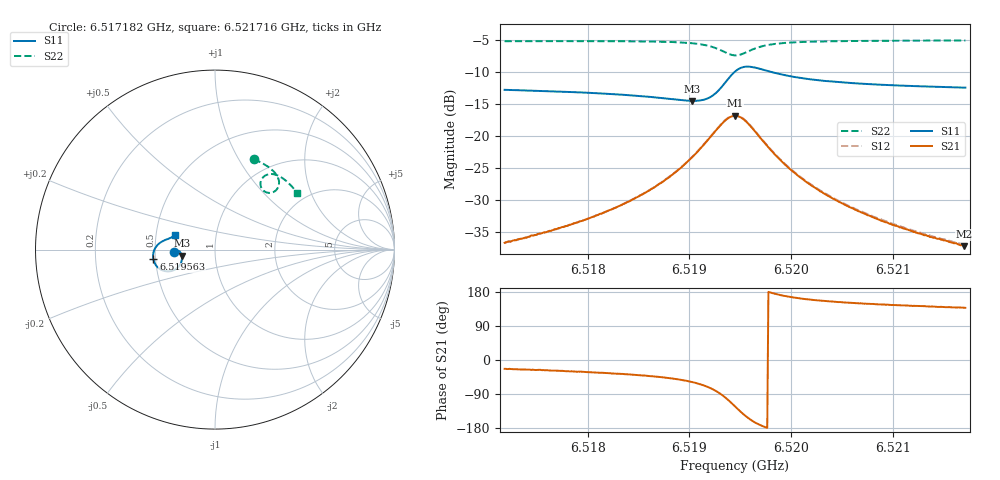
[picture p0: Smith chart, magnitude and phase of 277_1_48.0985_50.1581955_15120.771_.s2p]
#  HZ  S  RI  R  50.00
! Rohde & Schwarz Vector Network Analyzer
! Rohde-Schwarz,ZNB20-2Port,1311601062101988,3.16
! Created: UTC 12/23/2023, 4:02:22 AM
! freq[Hz]  re:S11  im:S11  re:S21  im:S21  re:S12  im:S12  re:S22  im:S22
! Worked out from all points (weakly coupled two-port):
!   401 points, 6.517182 GHz to 6.521716 GHz, reference 50 ohm
!   highest |S21| = -16.83 dB at 6.519449 GHz (marker M1); lowest = -37.1 dB at 6.521705 GHz (marker M2)
!   lowest |S11| = -14.5 dB at 6.51903 GHz (marker M3), VSWR 1.46, Z = 34.3 - j2.37 ohm
!   |S11| at or under -10 dB: start of sweep to 6.519445 GHz; 6.519805 GHz to end of sweep
!   |S22| runs from -7.4 to -5.1 dB; largest |S21 - S12| = 0.0044
!   S11 on the Smith chart (normalised r, x): 6.517182 GHz: 0.63, -0.02; 6.519563 GHz: 0.49, -0.06; 6.521716 GHz: 0.63, +0.11
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6.5171824e9  -0.229 -0.0133  0.0136 -0.00583  0.0138 -0.00548  0.2161 0.5042
6.5175791e9  -0.2243 -0.00767  0.0158 -0.0082  0.0161 -0.00764  0.2453 0.491
6.5179417e9  -0.2186 -0.00397  0.0187 -0.0112  0.0191 -0.0108  0.2722 0.4766
6.5183498e9  -0.2099 -0.00281  0.0237 -0.0179  0.0242 -0.0171  0.3027 0.4566
6.5187011e9  -0.1987 -0.00819  0.0302 -0.0298  0.031 -0.0288  0.3301 0.4322
6.5188711e9  -0.1917 -0.0169  0.0339 -0.0408  0.0353 -0.0399  0.3433 0.4152
6.5190298e9  -0.1852 -0.0333  0.0362 -0.0585  0.038 -0.0579  0.3539 0.3927
6.5191432e9  -0.1843 -0.0545  0.0333 -0.0791  0.0359 -0.0787  0.3571 0.3697
6.5192225e9  -0.1904 -0.0763  0.0245 -0.0989  0.0275 -0.099  0.3526 0.3491
6.5193585e9  -0.2371 -0.1174  -0.0232 -0.1314  -0.0197 -0.1333  0.3159 0.3172
6.5194492e9  -0.2974 -0.1135  -0.0771 -0.1217  -0.0743 -0.1248  0.2738 0.3256
6.5195058e9  -0.3285 -0.0878  -0.1021 -0.0957  -0.0999 -0.0994  0.2567 0.3475
6.5195625e9  -0.3435 -0.0544  -0.1114 -0.0652  -0.1105 -0.0688  0.2534 0.3729
6.5196758e9  -0.3374 -0.000242  -0.1 -0.0194  -0.1005 -0.0224  0.273 0.4077
6.5197892e9  -0.3175 0.0283  -0.0799 0.00172  -0.0807 -0.000554  0.2989 0.4197
6.5199819e9  -0.2899 0.0479  -0.0546 0.0129  -0.0556 0.0115  0.3327 0.4188
6.5202085e9  -0.27 0.0566  -0.0381 0.0147  -0.039 0.014  0.3598 0.408
6.5205372e9  -0.2532 0.0629  -0.0255 0.0138  -0.0263 0.0132  0.3882 0.3892
6.5209679e9  -0.24 0.069  -0.0171 0.0118  -0.0179 0.0116  0.4167 0.3635
6.5213759e9  -0.2311 0.0747  -0.0126 0.0104  -0.0133 0.0102  0.4395 0.3385
6.5217046e9  -0.2252 0.079  -0.0103 0.0093  -0.0108 0.00922  0.456 0.3182
6.521716e9  -0.2251 0.0792  -0.0103 0.00939  -0.0108 0.00929  0.4564 0.3175
